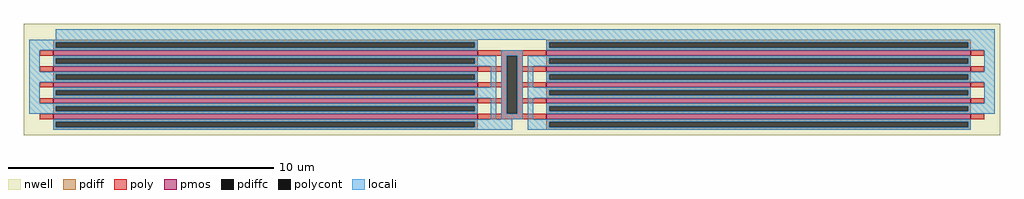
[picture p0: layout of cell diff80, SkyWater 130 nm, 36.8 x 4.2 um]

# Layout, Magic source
magic
tech sky130A
<< nwell >>
rect -1780 0 1900 420
<< locali >>
rect -1660 360 1880 400
rect -20 20 60 60
use p1_80x1  p1_80x1_0
transform 1 0 2240 0 -1 20
box -2240 -380 -340 20
use p1_80x1  p1_80x1_1
transform -1 0 -2120 0 -1 20
box -2240 -380 -340 20
<< end >>

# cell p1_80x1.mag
magic
tech sky130A
magscale 1 2
<< nwell >>
rect -4480 -760 -680 40
<< pmos >>
rect -4100 -120 -900 -80
rect -4100 -240 -900 -200
rect -4100 -360 -900 -320
rect -4100 -480 -900 -440
rect -4100 -600 -900 -560
<< pdiff >>
rect -4100 -20 -900 0
rect -4100 -60 -4080 -20
rect -920 -60 -900 -20
rect -4100 -80 -900 -60
rect -4100 -140 -900 -120
rect -4100 -180 -4080 -140
rect -920 -180 -900 -140
rect -4100 -200 -900 -180
rect -4100 -260 -900 -240
rect -4100 -300 -4080 -260
rect -920 -300 -900 -260
rect -4100 -320 -900 -300
rect -4100 -380 -900 -360
rect -4100 -420 -4080 -380
rect -920 -420 -900 -380
rect -4100 -440 -900 -420
rect -4100 -500 -900 -480
rect -4100 -540 -4080 -500
rect -920 -540 -900 -500
rect -4100 -560 -900 -540
rect -4100 -620 -900 -600
rect -4100 -660 -4080 -620
rect -920 -660 -900 -620
rect -4100 -680 -900 -660
<< pdiffc >>
rect -4080 -60 -920 -20
rect -4080 -180 -920 -140
rect -4080 -300 -920 -260
rect -4080 -420 -920 -380
rect -4080 -540 -920 -500
rect -4080 -660 -920 -620
<< poly >>
rect -4440 -120 -4100 -80
rect -900 -120 -800 -80
rect -4440 -560 -4400 -120
rect -4320 -200 -4280 -120
rect -4320 -240 -4100 -200
rect -900 -240 -800 -200
rect -4320 -320 -4280 -240
rect -4320 -360 -4100 -320
rect -900 -360 -800 -320
rect -4320 -440 -4280 -360
rect -4320 -480 -4100 -440
rect -900 -480 -800 -440
rect -4320 -560 -4280 -480
rect -4440 -600 -4100 -560
rect -900 -600 -800 -560
<< polycont >>
rect -4400 -560 -4320 -120
<< locali >>
rect -4240 -20 -900 0
rect -4240 -60 -4080 -20
rect -920 -60 -900 -20
rect -4240 -80 -900 -60
rect -4440 -120 -4280 -80
rect -4440 -560 -4400 -120
rect -4320 -560 -4280 -120
rect -4240 -240 -4200 -80
rect -4100 -140 -720 -120
rect -4100 -180 -4080 -140
rect -920 -180 -720 -140
rect -4100 -200 -720 -180
rect -4240 -260 -900 -240
rect -4240 -300 -4080 -260
rect -920 -300 -900 -260
rect -4240 -320 -900 -300
rect -4240 -480 -4200 -320
rect -800 -360 -720 -200
rect -4100 -380 -720 -360
rect -4100 -420 -4080 -380
rect -920 -420 -720 -380
rect -4100 -440 -720 -420
rect -4240 -500 -900 -480
rect -4240 -540 -4080 -500
rect -920 -540 -900 -500
rect -4240 -560 -900 -540
rect -4440 -600 -4280 -560
rect -800 -600 -720 -440
rect -4100 -620 -720 -600
rect -4100 -660 -4080 -620
rect -920 -660 -720 -620
rect -4100 -680 -720 -660
<< labels >>
flabel pdiffc -2479 -44 -2479 -44 0 FreeSans 800 0 0 0 D
port 0 nsew
flabel polycont -4361 -336 -4361 -336 0 FreeSans 800 0 0 0 G
port 1 nsew
flabel pdiffc -2475 -645 -2475 -645 0 FreeSans 800 0 0 0 S
port 2 nsew
flabel nwell -4367 -19 -4367 -19 0 FreeSans 800 0 0 0 B
port 3 nsew
<< end >>
